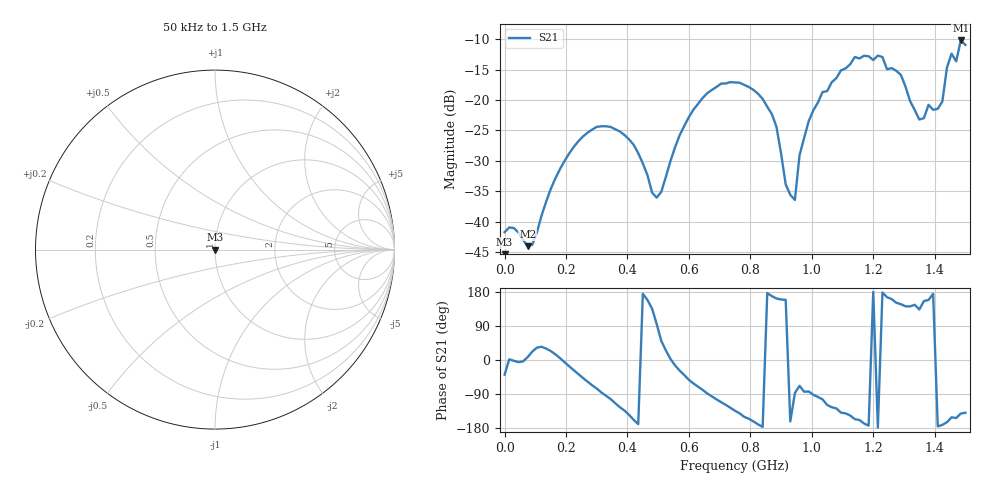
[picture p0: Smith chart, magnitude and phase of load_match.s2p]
! Created with skrf 1.8.0 (http://scikit-rf.org).
# Hz S RI R 50.0
!freq ReS11 ImS11 ReS21 ImS21 ReS12 ImS12 ReS22 ImS22
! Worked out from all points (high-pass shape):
!   101 points, 50 kHz to 1.5 GHz, reference 50 ohm
!   highest |S21| = -10.22 dB at 1.485 GHz (marker M1); lowest = -44.0 dB at 75.05 MHz (marker M2)
!   |S21| within 3 dB of the highest: 1.136 GHz to 1.195 GHz (58.41 MHz wide, 5.01 % of centre); 1.204 GHz to 1.232 GHz (27.57 MHz wide, 2.26 % of centre) (the widest 2 of 4)
!   lowest |S11| = - dB at 50 kHz (marker M3), VSWR 1.00, Z = 50 + j0 ohm
!   |S11| at or under -10 dB: start of sweep to end of sweep
!   S12 and S22 are empty: the file has one direction only
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50000  0 0  0.00642 -0.00514  0 0  0 0
7.50475e7  0 0  0.00626 0.000836  0 0  0 0
1.80044e8  0 0  0.0269 0.00245  0 0  0 0
2.550415e8  0 0  0.034 -0.0369  0 0  0 0
3.750375e8  0 0  -0.0313 -0.0455  0 0  0 0
4.350355e8  0 0  -0.036 -0.00685  0 0  0 0
4.80034e8  0 0  -0.0125 0.0121  0 0  0 0
5.10033e8  0 0  0.0112 0.0136  0 0  0 0
6.150295e8  0 0  0.0391 -0.0739  0 0  0 0
7.50025e8  0 0  -0.0968 -0.1001  0 0  0 0
8.70021e8  0 0  -0.0751 0.0152  0 0  0 0
9.150195e8  0 0  -0.0189 0.00741  0 0  0 0
9.450185e8  0 0  0.000766 -0.0151  0 0  0 0
9.60018e8  0 0  0.0131 -0.0327  0 0  0 0
1.005016e9  0 0  -0.00266 -0.0823  0 0  0 0
1.140012e9  0 0  -0.2062 -0.0916  0 0  0 0
1.260008e9  0 0  -0.1728 0.0603  0 0  0 0
1.365004e9  0 0  -0.0647 0.0295  0 0  0 0
1.425002e9  0 0  -0.0962 -0.0147  0 0  0 0
1.440002e9  0 0  -0.1778 -0.0507  0 0  0 0
1.485e9  0 0  -0.2409 -0.1925  0 0  0 0
1.5e9  0 0  -0.2145 -0.1854  0 0  0 0
